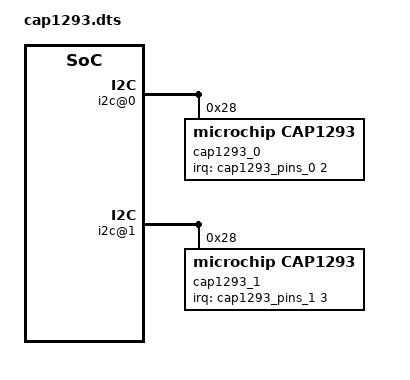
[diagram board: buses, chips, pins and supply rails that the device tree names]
/dts-v1/;
/plugin/;

/* NOTE: some changes requires a double reboot to take effect. Often, after just a single reboot either buttons will not produce a response. */

/*
For reference, these settings has been found to work in an enclosure without optics

fragment@1 {
        target-path = "/soc/i2c@7e804000/mux@70/i2c@0"; //phandle for i2c channel 1 on pca954x
        __overlay__ {
            status = "okay";
            cap1293_0: cap1293_0@28 {
                compatible = "microchip,cap1293";
                interrupt-parent = <0xf1>; // this is subject to change unfortunately.. use "dtc -I fs /proc/device-tree > device-tree.txt" to see updated interrupt-parent //
                interrupts = <2 2>;
                microchip,signal-guard = <1>;
                microchip,sensitivity-delta-sense = <16>;
                reg = <0x28>;
                autorepeat;
                microchip,sensor-gain = <2>;
                microchip,calib-sensitivity = <4>;
                linux,keycodes = <103>,	<106>, <102>; // KEY_UP when triggered
                #address-cells = <1>;
                microchip,input-threshold = <40>, <50>, <127>;
                #size-cells = <0>;
                status = "okay";
            };
        };
    };

*/


/ {
    fragment@0 {
        target-path = "/soc/i2c@7e804000/mcp@20";
        //target = <0xf1>;
        __overlay__ {
            cap1293_pins_0: cap1293_pins_0 {
                brcm,pins = <2>;
                brcm,function = <0>; /* in */
                brcm,pull = <0>; /* none */
            };
        };
    };

    fragment@1 {
        target-path = "/soc/i2c@7e804000/mux@70/i2c@0"; //phandle for i2c channel 1 on pca954x
        __overlay__ {
            status = "okay";
            cap1293_0: cap1293_0@28 {
                compatible = "microchip,cap1293";
                interrupt-parent = <&cap1293_pins_0>;
                //interrupt-parent = <0xf1>;
                interrupts = <2 2>;
                microchip,signal-guard = <1>;
                microchip,sensitivity-delta-sense = <16>;
                reg = <0x28>;
                autorepeat;
                microchip,sensor-gain = <2>;
                microchip,calib-sensitivity = <4>;
                linux,keycodes = <103>,	<106>, <102>; // KEY_UP when triggered
                #address-cells = <1>;
                microchip,input-threshold = <40>, <50>, <127>;
                #size-cells = <0>;
                status = "okay";
            };
        };
    };

    fragment@2 {
        target-path = "/soc/i2c@7e804000/mcp@20";
        __overlay__ {
            cap1293_pins_1: cap1293_pins_1 {
                brcm,pins = <3>;
                brcm,function = <0>; /* in */
                brcm,pull = <0>; /* none */
            };
        };
    };

    fragment@3 {
        target-path = "/soc/i2c@7e804000/mux@70/i2c@1"; //phandle for i2c channel 1 on pca954x
        __overlay__ {
            status = "okay";
            cap1293_1: cap1293_1@28 {
                compatible = "microchip,cap1293";
                interrupt-parent = <&cap1293_pins_1>;
                interrupts = <3 2>;
                microchip,signal-guard = <1>;
                microchip,sensitivity-delta-sense = <16>;  
                reg = <0x28>;
                autorepeat;
                microchip,sensor-gain = <2>;
                microchip,calib-sensitivity = <4>;
                linux,keycodes = <108>,	<106>, <104>; // KEY_DOWN when triggered
                #address-cells = <1>;
                microchip,input-threshold = <40>, <50>, <127>;
                #size-cells = <0>;
                status = "okay";
            };
        };
    };

    int_pins: interrupt_pins {
        compatible = "interrupt-pins";
        int_pin_0: interrupt_0 {
            int_pin = <&cap1293_0>, "interrupts:0",
                      <&cap1293_pins_0>, "brcm,pins:0";
        };
        int_pin_1: interrupt_1 {
            int_pin = <&cap1293_1>, "interrupts:0",
                      <&cap1293_pins_1>, "brcm,pins:0";
        };
    };
};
